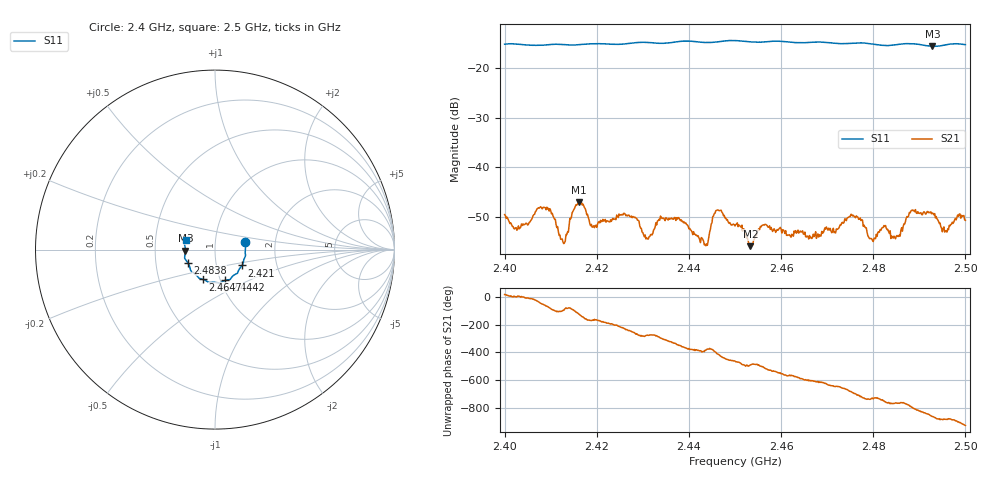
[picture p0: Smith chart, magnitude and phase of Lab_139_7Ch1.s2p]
# Hz S RI R 50
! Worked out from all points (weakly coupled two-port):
!   601 points, 2.4 GHz to 2.5 GHz, reference 50 ohm
!   highest |S21| = -46.97 dB at 2.4162 GHz (marker M1); lowest = -55.8 dB at 2.4533 GHz (marker M2)
!   lowest |S11| = -15.7 dB at 2.4928 GHz (marker M3), VSWR 1.40, Z = 35.8 - j0.385 ohm
!   |S11| at or under -10 dB: start of sweep to end of sweep
!   S12 and S22 are empty: the file has one direction only
!   S11 on the Smith chart (normalised r, x): 2.4 GHz: 1.40, +0.12; 2.421 GHz: 1.33, -0.24; 2.4442 GHz: 1.05, -0.37; 2.4647 GHz: 0.83, -0.29; 2.4838 GHz: 0.73, -0.11; 2.5 GHz: 0.72, +0.08
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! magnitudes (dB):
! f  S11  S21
! 2.4 GHz  -15.2  -49.5
! 2.409 GHz  -15.4  -48.5
! 2.4127 GHz  -15.3  -55.0
! 2.4162 GHz  -15.3  -47.0
! 2.4167 GHz  -15.3  -47.0
! 2.421 GHz  -15.1  -50.9
! 2.428 GHz  -15.0  -49.9
! 2.4308 GHz  -14.9  -54.2
! 2.4333 GHz  -15.0  -50.7
! 2.4442 GHz  -14.9  -54.9
! 2.446 GHz  -14.8  -48.6
! 2.45 GHz  -14.5  -51.8
! 2.4533 GHz  -14.7  -55.8
! 2.4563 GHz  -14.8  -51.6
! 2.4647 GHz  -14.9  -52.7
! 2.4667 GHz  -14.8  -54.3
! 2.4753 GHz  -15.0  -49.5
! 2.4795 GHz  -15.2  -54.3
! 2.4833 GHz  -15.5  -52.9
! 2.4838 GHz  -15.5  -54.3
! 2.4928 GHz  -15.7  -49.2
! 2.5 GHz  -15.3  -50.6
